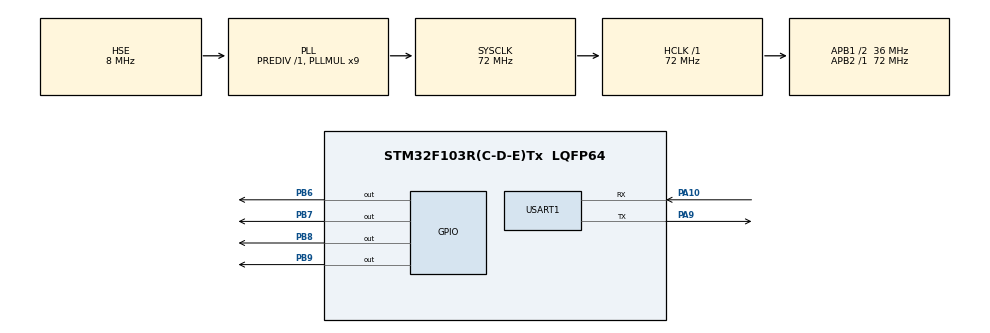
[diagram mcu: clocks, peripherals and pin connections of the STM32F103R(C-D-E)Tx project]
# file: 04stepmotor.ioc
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Mcu.Family=STM32F1
Mcu.Name=STM32F103R(C-D-E)Tx
Mcu.Package=LQFP64
NVIC.PriorityGroup=NVIC_PRIORITYGROUP_4
NVIC.TIM5_IRQn=true\:0\:0\:false\:false\:true\:true\:true
NVIC.USART1_IRQn=true\:0\:0\:false\:false\:true\:true\:true
PA10.Mode=Asynchronous
PA10.Signal=USART1_RX
PA13.Mode=Serial_Wire
PA13.Signal=SYS_JTMS-SWDIO
PA14.Mode=Serial_Wire
PA14.Signal=SYS_JTCK-SWCLK
PA9.Mode=Asynchronous
PA9.Signal=USART1_TX
PB6.GPIO_Speed=GPIO_SPEED_FREQ_MEDIUM
PB6.Signal=GPIO_Output
PB7.GPIO_Speed=GPIO_SPEED_FREQ_MEDIUM
PB7.Signal=GPIO_Output
PB8.GPIO_Speed=GPIO_SPEED_FREQ_MEDIUM
PB8.Signal=GPIO_Output
PB9.GPIO_Speed=GPIO_SPEED_FREQ_MEDIUM
PB9.Signal=GPIO_Output
PD0-OSC_IN.Mode=HSE-External-Oscillator
PD0-OSC_IN.Signal=RCC_OSC_IN
PD1-OSC_OUT.Mode=HSE-External-Oscillator
PD1-OSC_OUT.Signal=RCC_OSC_OUT
ProjectManager.HeapSize=0x200
ProjectManager.StackSize=0x400
ProjectManager.TargetToolchain=MDK-ARM V5
RCC.AHBFreq_Value=72000000
RCC.APB1CLKDivider=RCC_HCLK_DIV2
RCC.APB1Freq_Value=36000000
RCC.APB1TimFreq_Value=72000000
RCC.APB2Freq_Value=72000000
RCC.APB2TimFreq_Value=72000000
RCC.HCLKFreq_Value=72000000
RCC.PLLMUL=RCC_PLL_MUL9
RCC.PLLSourceVirtual=RCC_PLLSOURCE_HSE
RCC.SYSCLKFreq_VALUE=72000000
RCC.SYSCLKSource=RCC_SYSCLKSOURCE_PLLCLK
RCC.USBFreq_Value=72000000
TIM5.Period=2000-1
TIM5.Prescaler=7200-1
USART1.VirtualMode=VM_ASYNC
VP_TIM5_VS_ClockSourceINT.Mode=Internal
board=custom

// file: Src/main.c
/* USER CODE BEGIN Header */
/**
  ******************************************************************************
  * @file           : main.c
  * @brief          : Main program body
  ******************************************************************************
  * @attention
  *
  * <h2><center>&copy; Copyright (c) 2021 STMicroelectronics.
  * All rights reserved.</center></h2>
  *
  * This software component is licensed by ST under BSD 3-Clause license,
  * the "License"; You may not use this file except in compliance with the
  * License. You may obtain a copy of the License at:
  *                        opensource.org/licenses/BSD-3-Clause
  *
  ******************************************************************************
  */
/* USER CODE END Header */

#include "main.h"
#include "tim.h"
#include "usart.h"
#include "gpio.h"

/* USER CODE BEGIN Includes */
#include "stdio.h"
#include "string.h"
/* USER CODE END Includes */

/* USER CODE BEGIN PD */
	int fputc(int ch,FILE *f){
	uint8_t temp[1] = {ch};
	HAL_UART_Transmit(&huart1,temp,1,10);//huanrt  根据配置修改
	return ch;
	}
/* USER CODE END PD */

/* USER CODE BEGIN PV */
	uint16_t flag=255;
	uint8_t Rx_flag  =0x5A;
	uint8_t buf[255];
	uint8_t stat=2;
	#define USART1_LEN 72 //缓冲区大小  一次只能连按 USART1_LEN 次，连USART1_LEN+1 会只执行一次

	typedef struct
	{
		uint8_t buff[USART1_LEN];//缓冲区
		uint8_t usart1_rx_len;//保存的数据长度
		uint8_t w;//写
		uint8_t r;//读
		uint8_t usart1_flag;//数据接收完成标志
	}USART1_RX;

	USART1_RX USART1_rx={{0},0,0,0,0};//串口接收数据缓冲区初始化

/* USER CODE END PV */

void SystemClock_Config(void);

/* USER CODE BEGIN 0 */

void HAL_UART_RxCpltCallback(UART_HandleTypeDef *huart)
{
	if(huart->Instance == USART1)
	{
        //写入数据到缓冲区
        USART1_rx.buff[USART1_rx.w]=Rx_flag;
        USART1_rx.w=(USART1_rx.w+1)%USART1_LEN;
		USART1_rx.buff[USART1_rx.w] = 0;
		flag = 1;
		HAL_UART_Receive_IT(&huart1,&Rx_flag,1);

	}
}

void step_motor_direction_angle_delay(uint8_t direction,uint16_t angle,uint16_t delay);
uint8_t Usart1_Annular_txdata(void);
/* USER CODE END 0 */

int main(void)
{

  /* MCU Configuration--------------------------------------------------------*/

  /* Reset of all peripherals, Initializes the Flash interface and the Systick. */
  HAL_Init();

  /* Configure the system clock */
  SystemClock_Config();

  /* Initialize all configured peripherals */
  MX_GPIO_Init();
  MX_TIM5_Init();
  MX_USART1_UART_Init();
  /* USER CODE BEGIN 2 */

  //HAL_TIM_Base_Start_IT(&htim5);

  //step_motor_direction_angle_delay(0,90,2);
  step_motor_direction_angle_delay(0,90,1);  //0是顺时针
  step_motor_direction_angle_delay(1,90,1);
  HAL_UART_Receive_IT(&huart1,&Rx_flag,1);
  /* USER CODE END 2 */

  /* Infinite loop */
  /* USER CODE BEGIN WHILE */
  while (1)
  {
	  if (flag==1)
	  {
		  while(stat)
		  {

			  if(stat == 0x01)
			  {
				step_motor_direction_angle_delay(0,10,1);
			  }
			  else if(stat ==0x5a)
			  {
				step_motor_direction_angle_delay(1,10,1);
			  }
			  else
			  {

			  }
			  //读取串口环形缓冲区
			 stat = Usart1_Annular_txdata();
		  }
		flag = 255;
		stat = 2;
	  }
    /* USER CODE END WHILE */

  }
}

void SystemClock_Config(void)
{
  RCC_OscInitTypeDef RCC_OscInitStruct = {0};
  RCC_ClkInitTypeDef RCC_ClkInitStruct = {0};

  /** Initializes the CPU, AHB and APB busses clocks
  */
  RCC_OscInitStruct.OscillatorType = RCC_OSCILLATORTYPE_HSE;
  RCC_OscInitStruct.HSEState = RCC_HSE_ON;
  RCC_OscInitStruct.HSEPredivValue = RCC_HSE_PREDIV_DIV1;
  RCC_OscInitStruct.HSIState = RCC_HSI_ON;
  RCC_OscInitStruct.PLL.PLLState = RCC_PLL_ON;
  RCC_OscInitStruct.PLL.PLLSource = RCC_PLLSOURCE_HSE;
  RCC_OscInitStruct.PLL.PLLMUL = RCC_PLL_MUL9;
  if (HAL_RCC_OscConfig(&RCC_OscInitStruct) != HAL_OK)
  {
    Error_Handler();
  }
  /** Initializes the CPU, AHB and APB busses clocks
  */
  RCC_ClkInitStruct.ClockType = RCC_CLOCKTYPE_HCLK|RCC_CLOCKTYPE_SYSCLK
                              |RCC_CLOCKTYPE_PCLK1|RCC_CLOCKTYPE_PCLK2;
  RCC_ClkInitStruct.SYSCLKSource = RCC_SYSCLKSOURCE_PLLCLK;
  RCC_ClkInitStruct.AHBCLKDivider = RCC_SYSCLK_DIV1;
  RCC_ClkInitStruct.APB1CLKDivider = RCC_HCLK_DIV2;
  RCC_ClkInitStruct.APB2CLKDivider = RCC_HCLK_DIV1;

  if (HAL_RCC_ClockConfig(&RCC_ClkInitStruct, FLASH_LATENCY_2) != HAL_OK)
  {
    Error_Handler();
  }
}

/* USER CODE BEGIN 4 */
/***************************************************************************/
//0 顺时针
void step_motor_direction_angle_delay(uint8_t direction,uint16_t angle,uint16_t delay)
{
	int num=0;
	num = (angle/360.0)*512.0;
	uint16_t  t =delay;
	if(direction == 0)
	{

		while(num--)
		{
		HAL_Delay(delay);

		HAL_GPIO_WritePin(GPIOB,GPIO_PIN_7|GPIO_PIN_8|GPIO_PIN_9,GPIO_PIN_RESET);
		HAL_GPIO_WritePin(GPIOB,GPIO_PIN_6,GPIO_PIN_SET);

		HAL_Delay(delay);

		HAL_GPIO_WritePin(GPIOB,GPIO_PIN_6|GPIO_PIN_8|GPIO_PIN_9,GPIO_PIN_RESET);
		HAL_GPIO_WritePin(GPIOB,GPIO_PIN_7,GPIO_PIN_SET);

		HAL_Delay(delay);

		HAL_GPIO_WritePin(GPIOB,GPIO_PIN_6|GPIO_PIN_7|GPIO_PIN_9,GPIO_PIN_RESET);
		HAL_GPIO_WritePin(GPIOB,GPIO_PIN_8,GPIO_PIN_SET);

		HAL_Delay(delay);

		HAL_GPIO_WritePin(GPIOB,GPIO_PIN_7|GPIO_PIN_8|GPIO_PIN_9,GPIO_PIN_RESET);
		HAL_GPIO_WritePin(GPIOB,GPIO_PIN_9,GPIO_PIN_SET);

		}

	}
	else if(direction ==1)
	{
			while(num--)
		{

		HAL_Delay(delay);

		HAL_GPIO_WritePin(GPIOB,GPIO_PIN_7|GPIO_PIN_8|GPIO_PIN_9,GPIO_PIN_RESET);
		HAL_GPIO_WritePin(GPIOB,GPIO_PIN_9,GPIO_PIN_SET);

		HAL_Delay(delay);

		HAL_GPIO_WritePin(GPIOB,GPIO_PIN_6|GPIO_PIN_7|GPIO_PIN_9,GPIO_PIN_RESET);
		HAL_GPIO_WritePin(GPIOB,GPIO_PIN_8,GPIO_PIN_SET);

		HAL_Delay(delay);

		HAL_GPIO_WritePin(GPIOB,GPIO_PIN_6|GPIO_PIN_8|GPIO_PIN_9,GPIO_PIN_RESET);
		HAL_GPIO_WritePin(GPIOB,GPIO_PIN_7,GPIO_PIN_SET);

		HAL_Delay(delay);

		HAL_GPIO_WritePin(GPIOB,GPIO_PIN_7|GPIO_PIN_8|GPIO_PIN_9,GPIO_PIN_RESET);
		HAL_GPIO_WritePin(GPIOB,GPIO_PIN_6,GPIO_PIN_SET);

		}

	}
	else
	{

		printf("error has occured");

	}

}

/**********************从缓冲区读取数据******************
**
**形参:u8 *tx_data -- 读取数据保存地址
**
*********************************************************/
uint8_t Usart1_Annular_txdata()
{
    uint8_t ch=0;
    //缓冲区为空 或者 USART1_rx.usart1_flag 数据接收完成标志(为了兼容字符串接收处理)
    //if(USART1_rx.usart1_rx_len==0 || USART1_rx.usart1_flag==0)return 0;

    ch=USART1_rx.buff[USART1_rx.r];//读取缓冲区数据
    USART1_rx.r= (USART1_rx.r+1)%USART1_LEN;

	if(ch==0)
	{
		USART1_rx.r = (USART1_rx.r-1)%USART1_LEN;
		if(USART1_rx.r == 0xFF)
		{
		USART1_rx.r = USART1_LEN-1;
		}
		return ch;
	}

    //USART1_rx.usart1_flag=0;//清除标志位

    return ch;//返回读取到的字符个数
}

/***************************************************************************/
/* USER CODE END 4 */

void Error_Handler(void)
{
}

/************************ (C) COPYRIGHT STMicroelectronics *****END OF FILE****/
